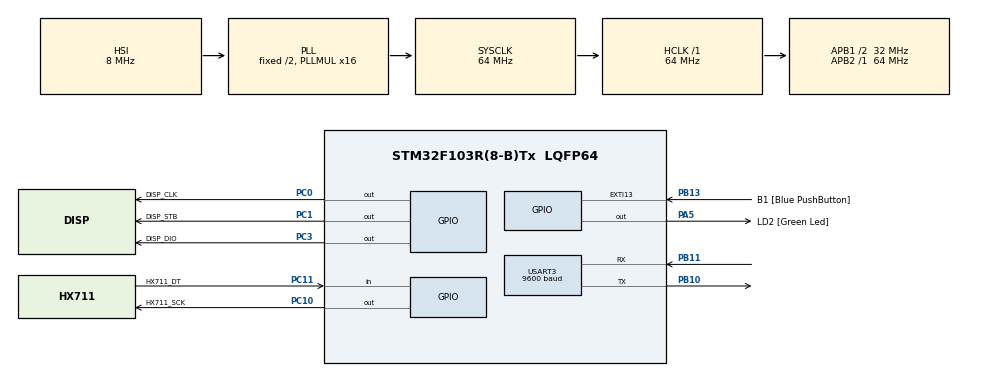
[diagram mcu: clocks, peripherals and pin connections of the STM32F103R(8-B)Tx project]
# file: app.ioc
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Mcu.Family=STM32F1
Mcu.Name=STM32F103R(8-B)Tx
Mcu.Package=LQFP64
NVIC.EXTI15_10_IRQn=true\:0\:0\:false\:false\:true\:true\:true
NVIC.PriorityGroup=NVIC_PRIORITYGROUP_4
PA13.GPIO_Label=TMS
PA13.Mode=Serial_Wire
PA13.Signal=SYS_JTMS-SWDIO
PA14.GPIO_Label=TCK
PA14.Mode=Serial_Wire
PA14.Signal=SYS_JTCK-SWCLK
PA2.GPIO_Label=USART_TX
PA2.GPIO_Mode=GPIO_MODE_AF_PP
PA2.GPIO_PuPd=GPIO_NOPULL
PA2.GPIO_Speed=GPIO_SPEED_FREQ_LOW
PA2.Signal=USART2_TX
PA3.GPIO_Label=USART_RX
PA3.GPIO_Mode=GPIO_MODE_AF_PP
PA3.GPIO_PuPd=GPIO_NOPULL
PA3.GPIO_Speed=GPIO_SPEED_FREQ_LOW
PA3.Signal=USART2_RX
PA5.GPIO_Label=LD2 [Green Led]
PA5.GPIO_ModeDefaultOutputPP=GPIO_MODE_OUTPUT_PP
PA5.GPIO_PuPd=GPIO_NOPULL
PA5.GPIO_Speed=GPIO_SPEED_FREQ_LOW
PA5.Signal=GPIO_Output
PB10.Mode=Asynchronous
PB10.Signal=USART3_TX
PB11.Mode=Asynchronous
PB11.Signal=USART3_RX
PB13.GPIO_Label=B1 [Blue PushButton]
PB13.GPIO_PuPd=GPIO_NOPULL
PB13.Signal=GPXTI13
PB3.GPIO_Label=SWO
PB3.Signal=SYS_JTDO-TRACESWO
PC0.GPIO_Label=DISP_CLK
PC0.Signal=GPIO_Output
PC1.GPIO_Label=DISP_STB
PC1.Signal=GPIO_Output
PC10.GPIO_Label=HX711_SCK
PC10.Signal=GPIO_Output
PC11.GPIO_Label=HX711_DT
PC11.Signal=GPIO_Input
PC14-OSC32_IN.Mode=LSE-External-Oscillator
PC14-OSC32_IN.Signal=RCC_OSC32_IN
PC15-OSC32_OUT.Mode=LSE-External-Oscillator
PC15-OSC32_OUT.Signal=RCC_OSC32_OUT
PC3.GPIO_Label=DISP_DIO
PC3.Signal=GPIO_Output
PD0-OSC_IN.Mode=HSE-External-Clock-Source
PD0-OSC_IN.Signal=RCC_OSC_IN
PD1-OSC_OUT.Mode=HSE-External-Clock-Source
PD1-OSC_OUT.Signal=RCC_OSC_OUT
ProjectManager.HeapSize=0x200
ProjectManager.StackSize=0x400
ProjectManager.TargetToolchain=STM32CubeIDE
RCC.AHBFreq_Value=64000000
RCC.APB1CLKDivider=RCC_HCLK_DIV2
RCC.APB1Freq_Value=32000000
RCC.APB1TimFreq_Value=64000000
RCC.APB2Freq_Value=64000000
RCC.APB2TimFreq_Value=64000000
RCC.HCLKFreq_Value=64000000
RCC.PLLMUL=RCC_PLL_MUL16
RCC.RTCClockSelection=RCC_RTCCLKSOURCE_LSE
RCC.SYSCLKFreq_VALUE=64000000
RCC.SYSCLKSource=RCC_SYSCLKSOURCE_PLLCLK
RCC.USBFreq_Value=64000000
RTC.Format=RTC_FORMAT_BIN
USART3.BaudRate=9600
USART3.VirtualMode=VM_ASYNC
VP_RTC_VS_RTC_Activate.Mode=RTC_Enabled
VP_RTC_VS_RTC_Calendar.Mode=RTC_Calendar
board=NUCLEO-F103RB

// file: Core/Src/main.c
/* USER CODE BEGIN Header */
/* USER CODE END Header */
#include "main.h"

/* USER CODE BEGIN Includes */
#include <stdio.h>
#include <string.h>
#include <stdbool.h>
#include "TM1638/TM1638.h"
#include "HX711/HX711.h"
#include "SIM900/SIM900.h"
#include "RTC_POLLING/RTC_POLLING.h"
/* USER CODE END Includes */

RTC_HandleTypeDef hrtc;

UART_HandleTypeDef huart3;

void SystemClock_Config(void);
static void MX_GPIO_Init(void);
static void MX_USART3_UART_Init(void);
static void MX_RTC_Init(void);

/* USER CODE BEGIN 0 */
void calibrateHX711() {
  TM1638_SetLedStatus(0, LED_ON);
  TM1638_SetLedStatus(1, LED_ON);

	double shift = 0;
	double coeff = 1;
	HX711_Calibrate(shift, coeff);

	while(HAL_GPIO_ReadPin(B1_GPIO_Port, B1_Pin) == GPIO_PIN_SET) { //While blue button not pushed
	  double value = HX711_ReadValue();
	  TM1638_SetNumberToDisplay(value);
	}

	shift = HX711_ReadAverageValue(10);
	HX711_Calibrate(shift, coeff);
	TM1638_SetLedStatus(1, LED_OFF);

	HAL_Delay(1000);

	while(HAL_GPIO_ReadPin(B1_GPIO_Port, B1_Pin) == GPIO_PIN_SET) { //While blue button not pushed
	  double value = HX711_ReadValue();
	  TM1638_SetNumberToDisplay(value);
	}

	coeff = 2353 / HX711_ReadAverageValue(10);
	HX711_Calibrate(shift, coeff);
	TM1638_SetLedStatus(0, LED_OFF);
}
/* USER CODE END 0 */

int main(void)
{

  /* MCU Configuration--------------------------------------------------------*/

  /* Reset of all peripherals, Initializes the Flash interface and the Systick. */
  HAL_Init();

  /* Configure the system clock */
  SystemClock_Config();

  /* Initialize all configured peripherals */
  MX_GPIO_Init();
  MX_USART3_UART_Init();
  MX_RTC_Init();
  /* USER CODE BEGIN 2 */
  TM1638_Init(
	  DISP_STB_GPIO_Port,
	  DISP_STB_Pin,
	  DISP_CLK_GPIO_Port,
	  DISP_CLK_Pin,
	  DISP_DIO_GPIO_Port,
	  DISP_DIO_Pin
  );

  TM1638_SetLedStatus(0, LED_OFF);
  TM1638_SetLedStatus(1, LED_OFF);
  TM1638_SetLedStatus(7, LED_OFF);

  TM1638_SetDisplayBrightness(DISPLAY_BRIGHTNESS_LEVEL_1);
  TM1638_SetDisplayState(DISPLAY_STATE_ON);

  HX711_Init(
      HX711_SCK_GPIO_Port,
      HX711_SCK_Pin,
	  HX711_DT_GPIO_Port,
	  HX711_DT_Pin
  );

  HX711_SetGainLevel(GAIN_128);
  HX711_Calibrate(8015261, 1515.0 / 33774.0);
  HX711_PowerUp();
//  calibrateHX711(); //TODO comment it

  TM1638_SetLedStatus(7, LED_ON);
  if(SIM900_Init(huart3, 60000) > 0) {
    return 1;
  }
  TM1638_SetLedStatus(7, LED_OFF);

  RTC_POLLING_InitEveryDay(hrtc);

  /* USER CODE END 2 */

  /* Infinite loop */
  /* USER CODE BEGIN WHILE */
  while (1) {
	  double value = HX711_ReadAverageValue(1);
	  TM1638_SetNumberToDisplay(value);

	  if(RTC_POLLING_CheckEveryDay()) {
		  double kgValue = HX711_ReadAverageValue(10) / 1000;

		  char str[50] = "";
		  sprintf(str, "Today weight in kg: %.2f", kgValue);

		   SIM900_TrySendSMS(str);
	  }

    /* USER CODE END WHILE */

  }
}

void SystemClock_Config(void)
{
  RCC_OscInitTypeDef RCC_OscInitStruct = {0};
  RCC_ClkInitTypeDef RCC_ClkInitStruct = {0};
  RCC_PeriphCLKInitTypeDef PeriphClkInit = {0};

  /** Initializes the RCC Oscillators according to the specified parameters
  * in the RCC_OscInitTypeDef structure.
  */
  RCC_OscInitStruct.OscillatorType = RCC_OSCILLATORTYPE_HSI|RCC_OSCILLATORTYPE_LSE;
  RCC_OscInitStruct.LSEState = RCC_LSE_ON;
  RCC_OscInitStruct.HSIState = RCC_HSI_ON;
  RCC_OscInitStruct.HSICalibrationValue = RCC_HSICALIBRATION_DEFAULT;
  RCC_OscInitStruct.PLL.PLLState = RCC_PLL_ON;
  RCC_OscInitStruct.PLL.PLLSource = RCC_PLLSOURCE_HSI_DIV2;
  RCC_OscInitStruct.PLL.PLLMUL = RCC_PLL_MUL16;
  if (HAL_RCC_OscConfig(&RCC_OscInitStruct) != HAL_OK)
  {
    Error_Handler();
  }
  /** Initializes the CPU, AHB and APB buses clocks
  */
  RCC_ClkInitStruct.ClockType = RCC_CLOCKTYPE_HCLK|RCC_CLOCKTYPE_SYSCLK
                              |RCC_CLOCKTYPE_PCLK1|RCC_CLOCKTYPE_PCLK2;
  RCC_ClkInitStruct.SYSCLKSource = RCC_SYSCLKSOURCE_PLLCLK;
  RCC_ClkInitStruct.AHBCLKDivider = RCC_SYSCLK_DIV1;
  RCC_ClkInitStruct.APB1CLKDivider = RCC_HCLK_DIV2;
  RCC_ClkInitStruct.APB2CLKDivider = RCC_HCLK_DIV1;

  if (HAL_RCC_ClockConfig(&RCC_ClkInitStruct, FLASH_LATENCY_2) != HAL_OK)
  {
    Error_Handler();
  }
  PeriphClkInit.PeriphClockSelection = RCC_PERIPHCLK_RTC;
  PeriphClkInit.RTCClockSelection = RCC_RTCCLKSOURCE_LSE;
  if (HAL_RCCEx_PeriphCLKConfig(&PeriphClkInit) != HAL_OK)
  {
    Error_Handler();
  }
}

static void MX_RTC_Init(void)
{

  RTC_TimeTypeDef sTime = {0};
  RTC_DateTypeDef DateToUpdate = {0};

  /** Initialize RTC Only
  */
  hrtc.Instance = RTC;
  hrtc.Init.AsynchPrediv = RTC_AUTO_1_SECOND;
  hrtc.Init.OutPut = RTC_OUTPUTSOURCE_ALARM;
  if (HAL_RTC_Init(&hrtc) != HAL_OK)
  {
    Error_Handler();
  }

  /** Initialize RTC and set the Time and Date
  */
  sTime.Hours = 0;
  sTime.Minutes = 0;
  sTime.Seconds = 0;

  if (HAL_RTC_SetTime(&hrtc, &sTime, RTC_FORMAT_BIN) != HAL_OK)
  {
    Error_Handler();
  }
  DateToUpdate.WeekDay = RTC_WEEKDAY_MONDAY;
  DateToUpdate.Month = RTC_MONTH_JANUARY;
  DateToUpdate.Date = 1;
  DateToUpdate.Year = 0;

  if (HAL_RTC_SetDate(&hrtc, &DateToUpdate, RTC_FORMAT_BIN) != HAL_OK)
  {
    Error_Handler();
  }

}

static void MX_USART3_UART_Init(void)
{

  huart3.Instance = USART3;
  huart3.Init.BaudRate = 9600;
  huart3.Init.WordLength = UART_WORDLENGTH_8B;
  huart3.Init.StopBits = UART_STOPBITS_1;
  huart3.Init.Parity = UART_PARITY_NONE;
  huart3.Init.Mode = UART_MODE_TX_RX;
  huart3.Init.HwFlowCtl = UART_HWCONTROL_NONE;
  huart3.Init.OverSampling = UART_OVERSAMPLING_16;
  if (HAL_UART_Init(&huart3) != HAL_OK)
  {
    Error_Handler();
  }

}

static void MX_GPIO_Init(void)
{
  GPIO_InitTypeDef GPIO_InitStruct = {0};

  /* GPIO Ports Clock Enable */
  __HAL_RCC_GPIOC_CLK_ENABLE();
  __HAL_RCC_GPIOD_CLK_ENABLE();
  __HAL_RCC_GPIOA_CLK_ENABLE();
  __HAL_RCC_GPIOB_CLK_ENABLE();

  /*Configure GPIO pin Output Level */
  HAL_GPIO_WritePin(GPIOC, DISP_CLK_Pin|DISP_STB_Pin|DISP_DIO_Pin|HX711_SCK_Pin, GPIO_PIN_RESET);

  /*Configure GPIO pin Output Level */
  HAL_GPIO_WritePin(LD2_GPIO_Port, LD2_Pin, GPIO_PIN_RESET);

  /*Configure GPIO pins : DISP_CLK_Pin DISP_STB_Pin DISP_DIO_Pin HX711_SCK_Pin */
  GPIO_InitStruct.Pin = DISP_CLK_Pin|DISP_STB_Pin|DISP_DIO_Pin|HX711_SCK_Pin;
  GPIO_InitStruct.Mode = GPIO_MODE_OUTPUT_PP;
  GPIO_InitStruct.Pull = GPIO_NOPULL;
  GPIO_InitStruct.Speed = GPIO_SPEED_FREQ_LOW;
  HAL_GPIO_Init(GPIOC, &GPIO_InitStruct);

  /*Configure GPIO pins : USART_TX_Pin USART_RX_Pin */
  GPIO_InitStruct.Pin = USART_TX_Pin|USART_RX_Pin;
  GPIO_InitStruct.Mode = GPIO_MODE_AF_PP;
  GPIO_InitStruct.Speed = GPIO_SPEED_FREQ_LOW;
  HAL_GPIO_Init(GPIOA, &GPIO_InitStruct);

  /*Configure GPIO pin : LD2_Pin */
  GPIO_InitStruct.Pin = LD2_Pin;
  GPIO_InitStruct.Mode = GPIO_MODE_OUTPUT_PP;
  GPIO_InitStruct.Pull = GPIO_NOPULL;
  GPIO_InitStruct.Speed = GPIO_SPEED_FREQ_LOW;
  HAL_GPIO_Init(LD2_GPIO_Port, &GPIO_InitStruct);

  /*Configure GPIO pin : B1_Pin */
  GPIO_InitStruct.Pin = B1_Pin;
  GPIO_InitStruct.Mode = GPIO_MODE_IT_RISING;
  GPIO_InitStruct.Pull = GPIO_NOPULL;
  HAL_GPIO_Init(B1_GPIO_Port, &GPIO_InitStruct);

  /*Configure GPIO pin : HX711_DT_Pin */
  GPIO_InitStruct.Pin = HX711_DT_Pin;
  GPIO_InitStruct.Mode = GPIO_MODE_INPUT;
  GPIO_InitStruct.Pull = GPIO_NOPULL;
  HAL_GPIO_Init(HX711_DT_GPIO_Port, &GPIO_InitStruct);

  /* EXTI interrupt init*/
  HAL_NVIC_SetPriority(EXTI15_10_IRQn, 0, 0);
  HAL_NVIC_EnableIRQ(EXTI15_10_IRQn);

}

void Error_Handler(void)
{
}

/************************ (C) COPYRIGHT STMicroelectronics *****END OF FILE****/
